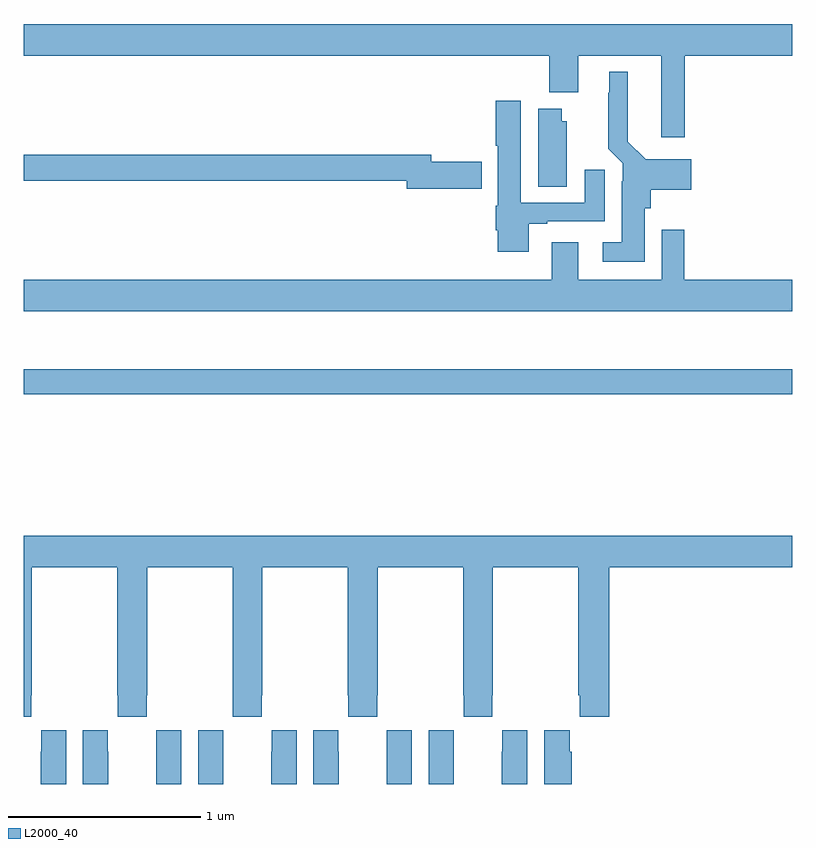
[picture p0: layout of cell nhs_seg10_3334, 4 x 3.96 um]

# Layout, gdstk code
import gdstk
lib = gdstk.Library(unit=1e-6, precision=1e-09)
def R(c, l, rs):  # rectangles x0, y0, x1, y1
    for r in rs: c.add(gdstk.rectangle(r[:2], r[2:], *l))
def P(c, l, *ps):  # polygons
    for p in ps: c.add(gdstk.Polygon(p, *l))
L2000_40 = (2000, 40)

nhs_seg10_3334 = lib.new_cell('nhs_seg10_3334')
R(nhs_seg10_3334, L2000_40, [(291,1322.53,295,1322.659)])
P(nhs_seg10_3334, L2000_40, [(294.44,1324.292),(295,1324.292),(295,1324.456),(291,1324.456),(291,1324.292),(293.735,1324.292),(293.735,1324.1),(293.887,1324.1),(293.887,1324.292),(294.317,1324.292),(294.317,1323.867),(294.44,1323.867)],
  [(294.232,1323.498),(294.263,1323.498),(294.263,1323.593),(294.475,1323.593),(294.475,1323.751),(294.237,1323.751),(294.145,1323.844),(294.145,1324.207),(294.047,1324.207),(294.047,1324.097),(294.043,1324.097),(294.043,1323.806),(294.117,1323.732),(294.117,1323.638),(294.113,1323.638),(294.113,1323.319),(294.015,1323.319),(294.015,1323.218),(294.232,1323.218)],
  [(293.629,1323.417),(293.725,1323.417),(293.725,1323.429),(294.025,1323.429),(294.025,1323.697),(293.921,1323.697),(293.921,1323.525),(293.587,1323.525),(293.587,1324.057),(293.456,1324.057),(293.456,1323.823),(293.468,1323.823),(293.468,1323.509),(293.456,1323.509),(293.456,1323.382),(293.468,1323.382),(293.468,1323.27),(293.629,1323.27)],
  [(293.827,1323.951),(293.8,1323.951),(293.8,1324.015),(293.678,1324.015),(293.678,1323.61),(293.827,1323.61)],
  [(293.383,1323.74),(293.122,1323.74),(293.122,1323.776),(291,1323.776),(291,1323.64),(292.994,1323.64),(292.994,1323.598),(293.383,1323.598)],
  [(295,1323.124),(294.437,1323.124),(294.437,1323.385),(294.321,1323.385),(294.321,1323.124),(293.887,1323.124),(293.887,1323.319),(293.747,1323.319),(293.747,1323.124),(291,1323.124),(291,1322.96),(295,1322.96)],
  [(291,1320.849),(291.039,1320.849),(291.039,1320.961),(291.042,1320.961),(291.042,1321.628),(291.487,1321.628),(291.487,1320.961),(291.489,1320.961),(291.489,1320.849),(291.639,1320.849),(291.639,1320.961),(291.642,1320.961),(291.642,1321.628),(292.087,1321.628),(292.087,1320.961),(292.089,1320.961),(292.089,1320.849),(292.239,1320.849),(292.239,1320.961),(292.242,1320.961),(292.242,1321.628),(292.687,1321.628),(292.687,1320.961),(292.689,1320.961),(292.689,1320.849),(292.839,1320.849),(292.839,1320.961),(292.842,1320.961),(292.842,1321.628),(293.287,1321.628),(293.287,1320.961),(293.289,1320.961),(293.289,1320.849),(293.439,1320.849),(293.439,1320.961),(293.442,1320.961),(293.442,1321.628),(293.887,1321.628),(293.887,1320.961),(293.893,1320.961),(293.893,1320.849),(294.047,1320.849),(294.047,1321.628),(295,1321.628),(295,1321.792),(291,1321.792)],
  [(291.22,1320.781),(291.09,1320.781),(291.09,1320.668),(291.089,1320.668),(291.089,1320.5),(291.22,1320.5)],
  [(293.62,1320.781),(293.49,1320.781),(293.49,1320.668),(293.489,1320.668),(293.489,1320.5),(293.62,1320.5)],
  [(293.852,1320.668),(293.842,1320.668),(293.842,1320.781),(293.708,1320.781),(293.708,1320.5),(293.852,1320.5)],
  [(291.439,1320.668),(291.438,1320.668),(291.438,1320.781),(291.308,1320.781),(291.308,1320.5),(291.439,1320.5)],
  [(291.82,1320.781),(291.69,1320.781),(291.69,1320.668),(291.689,1320.668),(291.689,1320.5),(291.82,1320.5)],
  [(292.039,1320.668),(292.038,1320.668),(292.038,1320.781),(291.908,1320.781),(291.908,1320.5),(292.039,1320.5)],
  [(292.42,1320.781),(292.29,1320.781),(292.29,1320.668),(292.289,1320.668),(292.289,1320.5),(292.42,1320.5)],
  [(292.639,1320.668),(292.638,1320.668),(292.638,1320.781),(292.508,1320.781),(292.508,1320.5),(292.639,1320.5)],
  [(293.02,1320.781),(292.89,1320.781),(292.89,1320.668),(292.889,1320.668),(292.889,1320.5),(293.02,1320.5)],
  [(293.239,1320.668),(293.238,1320.668),(293.238,1320.781),(293.108,1320.781),(293.108,1320.5),(293.239,1320.5)])

lib.write_gds('nhs_seg10_3334.gds')
